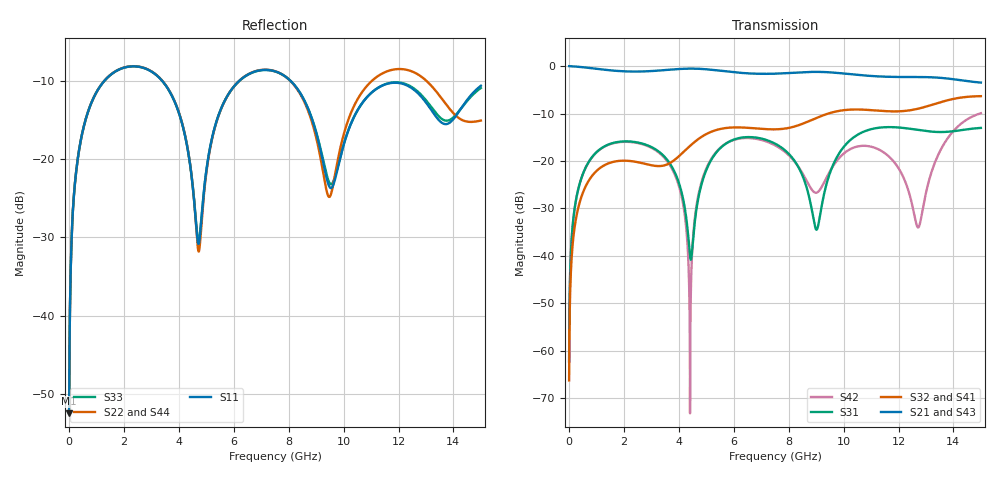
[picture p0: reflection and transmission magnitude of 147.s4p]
! Created with skrf 1.8.0 (http://scikit-rf.org).
# GHz S RI R 50.0
!freq ReS11 ImS11 ReS12 ImS12 ReS13 ImS13
! ReS14 ImS14
! ReS21 ImS21 ReS22 ImS22 ReS23 ImS23
! ReS24 ImS24
! ReS31 ImS31 ReS32 ImS32 ReS33 ImS33
! ReS34 ImS34
! ReS41 ImS41 ReS42 ImS42 ReS43 ImS43
! ReS44 ImS44
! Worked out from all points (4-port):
!   2499 points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, 5 MHz to 15 GHz, reference 50 ohm
!   strongest paths, dB at 5 MHz, 3.476 GHz, 7.19 GHz, 11.1 GHz, 15 GHz:
!     S21: 0.0, -0.8, -1.6, -2.1, -3.5
!     S43: 0.0, -0.9, -1.6, -2.1, -3.5
!     S32: -66.2, -20.9, -13.3, -9.3, -6.3
!     S41: -66.2, -21.0, -13.4, -9.4, -6.4
!     S31: -62.2, -19.1, -15.6, -13.2, -13.0
!     S42: -62.2, -19.3, -15.9, -17.1, -9.9
!   lowest |S11| = -52.5 dB at 5 MHz (marker M1), VSWR 1.00, Z = 50.2 + j0.144 ohm
!   |S11| at or under -10 dB: start of sweep to 1.293 GHz; 3.39 GHz to 6.206 GHz (2.816 GHz wide, 58.7 % of centre); 8.063 GHz to end of sweep
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0.005  0.0019 0.00144  0.9981 -0.00369  9.66e-05 0.000767  -9.37e-05 -0.000479
       0.9981 -0.00369  0.0019 0.00144  -9.37e-05 -0.000479  9.66e-05 0.000767
       9.66e-05 0.000767  -9.37e-05 -0.000479  0.0019 0.00144  0.9981 -0.00369
       -9.37e-05 -0.000479  9.66e-05 0.000767  0.9981 -0.00369  0.0019 0.00144
1.369321  0.2763 0.1749  0.5347 -0.7368  0.1339 0.059  -0.0924 -0.00381
          0.5347 -0.7368  0.2771 0.1743  -0.0926 -0.0036  0.1312 0.0627
          0.1339 0.059  -0.0926 -0.0036  0.2762 0.175  0.5347 -0.7368
          -0.0924 -0.00381  0.1312 0.0627  0.5347 -0.7368  0.2772 0.1743
3.738636  0.1796 -0.1814  -0.6665 -0.6339  0.0393 -0.0784  -0.047 0.0848
          -0.6665 -0.6339  0.1779 -0.1847  -0.0454 0.0864  0.0484 -0.0689
          0.0393 -0.0784  -0.0454 0.0864  0.1805 -0.1808  -0.6665 -0.6338
          -0.047 0.0848  0.0484 -0.0689  -0.6665 -0.6338  0.1775 -0.1858
4.408087  0.0451 -0.0809  -0.8994 -0.2743  -0.00904 -0.00427  -0.0392 0.1389
          -0.8994 -0.2743  0.0424 -0.0834  -0.0361 0.1397  0.000163 -0.000147
          -0.00904 -0.00427  -0.0361 0.1397  0.0465 -0.0809  -0.8994 -0.2743
          -0.0392 0.1389  0.000163 -0.000147  -0.8994 -0.2743  0.0413 -0.0842
5.514798  0.1352 0.154  -0.7953 0.4062  0.1061 0.0867  0.1251 0.1775
          -0.7953 0.4062  0.133 0.1543  0.1291 0.1752  0.1064 0.0883
          0.1061 0.0867  0.1291 0.1752  0.1357 0.153  -0.7952 0.4064
          0.1251 0.1775  0.1064 0.0883  -0.7952 0.4064  0.1326 0.1551
9.553981  0.0653 -0.00105  0.8526 0.09  0.0308 0.076  0.0314 -0.3221
          0.8526 0.09  0.0587 0.0155  0.0177 -0.3228  -0.0195 0.0802
          0.0308 0.076  0.0177 -0.3228  0.0691 -0.00229  0.8526 0.0889
          0.0314 -0.3221  -0.0195 0.0802  0.8526 0.0889  0.0545 0.0161
15  0.2823 0.0811  -0.6534 0.1499  0.0297 0.2212  0.1364 0.4586
    -0.6534 0.1499  0.173 -0.0325  0.1639 0.4534  0.2185 0.2318
    0.0297 0.2212  0.1639 0.4534  0.277 0.0634  -0.6541 0.151
    0.1364 0.4586  0.2185 0.2318  -0.6541 0.151  0.1819 -0.0326
